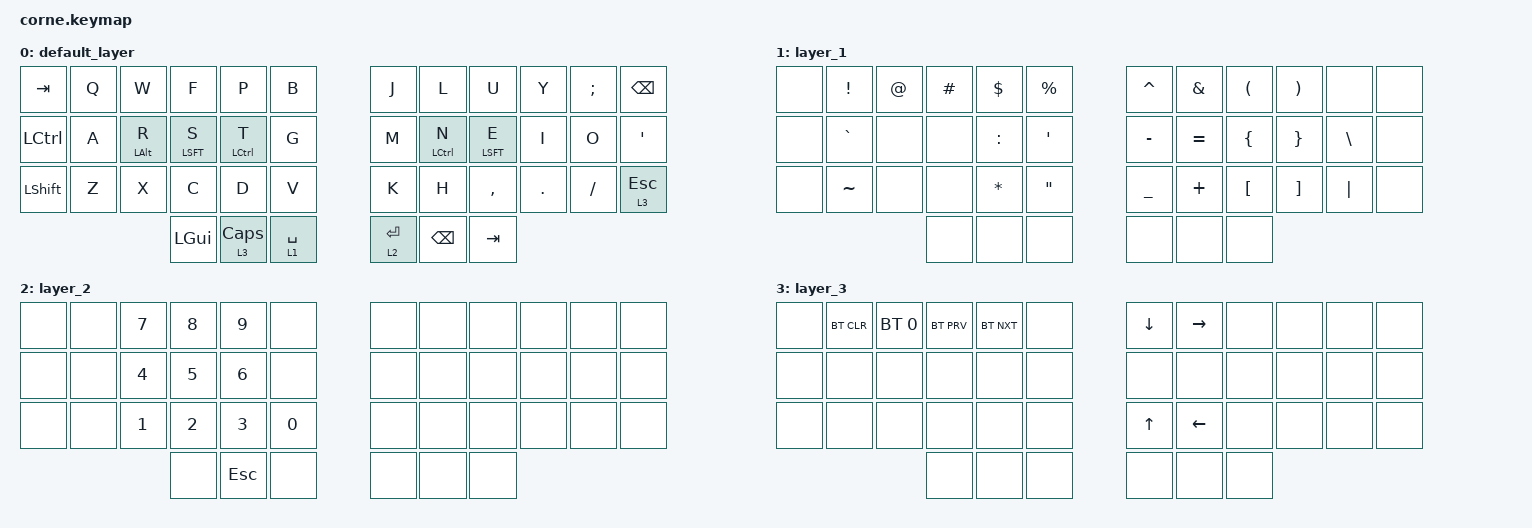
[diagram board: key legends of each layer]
/*
 * Copyright (c) 2020 The ZMK Contributors
 *
 * SPDX-License-Identifier: MIT
 */

#include <behaviors.dtsi>
#include <dt-bindings/zmk/keys.h>
#include <dt-bindings/zmk/bt.h>

/ {
    behaviors {
        hml: home_row_mod_left {
            compatible = "zmk,behavior-hold-tap";
            #binding-cells = <2>;
            flavor = "balanced";
            require-prior-idle-ms = <50>;
            tapping-term-ms = <150>;
            quick-tap-ms = <150>;
            bindings = <&kp>, <&kp>;
            hold-trigger-key-positions = <6 7 8 9 10 11 18 19 20 21 22 23>;
            hold-trigger-on-release;
        };

        hmr: home_row_mod_right {
            compatible = "zmk,behavior-hold-tap";
            #binding-cells = <2>;
            flavor = "balanced";
            require-prior-idle-ms = <50>;
            tapping-term-ms = <180>;
            quick-tap-ms = <150>;
            bindings = <&kp>, <&kp>;
            hold-trigger-key-positions = <0 1 2 3 4 5 12 13 14 15 16 17>;
            hold-trigger-on-release;
        };
    };

    keymap {
        compatible = "zmk,keymap";

        default_layer {
            bindings = <
                &kp TAB   &kp Q   &kp W        &kp F        &kp P        &kp B    &kp J   &kp L   &kp U     &kp Y        &kp SEMI      &kp BSPC
                &kp LCTRL &kp A   &hml LALT R &hml LSFT S &hml LCTL T &kp G    &kp M   &hmr LCTL N   &hmr LSFT E   &kp I  &kp O &kp SQT
                &kp LSHFT &kp Z   &kp X        &kp C        &kp D        &kp V    &kp K   &kp H   &kp COMMA &kp DOT      &kp FSLH       &lt 3 ESC
                          &kp LGUI  &lt 3 CAPS &lt 1 SPACE                         &lt 2 ENTER &kp BSPC  &kp TAB
            >;
        };

        layer_1 { // Symbols layer
            bindings = <
                &none &kp EXCL  &kp AT &kp HASH &kp DLLR &kp PRCNT     &kp CARET   &kp AMPS  &kp LPAR &kp RPAR &none        &none
                &none &kp GRAVE &none  &none    &kp COLON  &kp SQT     &kp MINUS   &kp EQUAL &kp LBRC &kp RBRC &kp BSLH     &none
                &none &kp TILDE &none  &none    &kp ASTRK  &kp DQT     &kp UNDER   &kp PLUS  &kp LBKT &kp RBKT &kp PIPE     &none
                          &none     &none                 &none                 &none         &none &none
            >;
        };

        layer_2 { // Numpad on the left side
            bindings = <
               &none &none &kp N7 &kp N8 &kp N9 &none      &none &none &none &none &none &none
               &none &none &kp N4 &kp N5 &kp N6 &none      &none &none &none &none &none &none
               &none &none &kp N1 &kp N2 &kp N3 &kp N0     &none &none &none &none &none &none
                       &none &kp ESC         &none          &none       &none &none
            >;
        };

        layer_3 { // Vim-style arrow keys on right hand (J/L/K/H)
            bindings = <
               &none &bt BT_CLR &bt BT_SEL 0 &bt BT_PRV &bt BT_NXT &none     &kp DOWN  &kp RIGHT &none &none &none &none
               &none &none &none &none &none &none     &none     &none     &none &none &none &none
               &none &none &none &none &none &none     &kp UP    &kp LEFT  &none &none &none &none 
                       &none &none         &none          &none       &none &none
            >;
        };
    };
};
